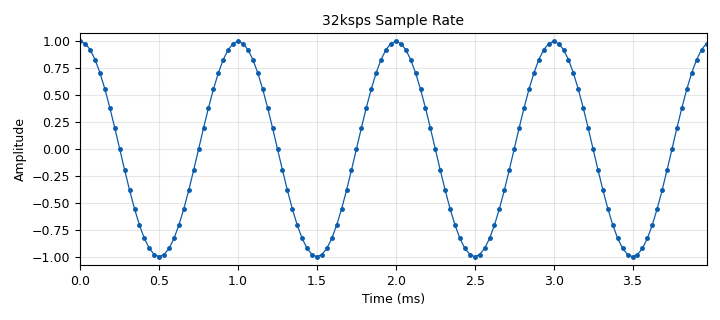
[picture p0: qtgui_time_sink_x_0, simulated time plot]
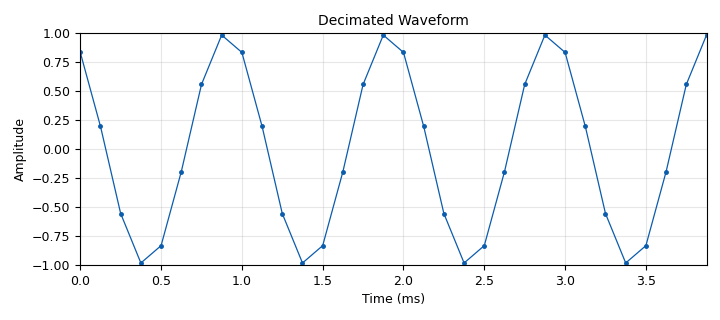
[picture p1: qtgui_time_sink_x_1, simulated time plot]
options:
  parameters:
    generate_options: qt_gui
    id: top_block
    output_language: python
  states: {}

blocks:
- name: decimation_factor
  id: variable
  parameters:
    value: '4'
  states: {}
- name: samp_rate
  id: variable
  parameters:
    value: '32000'
  states: {}
- name: analog_sig_source_x_0
  id: analog_sig_source_x
  parameters:
    amp: '1'
    freq: '1000'
    offset: '0'
    phase: '0'
    samp_rate: samp_rate
    type: float
    waveform: analog.GR_COS_WAVE
  states: {}
- name: blocks_keep_one_in_n_0
  id: blocks_keep_one_in_n
  parameters:
    n: decimation_factor
    type: float
  states: {}
- name: blocks_throttle2_0
  id: blocks_throttle2
  parameters:
    samples_per_second: samp_rate
    type: float
  states: {}
- name: qtgui_time_sink_x_0
  id: qtgui_time_sink_x
  parameters:
    label1: ''
    marker1: '0'
    name: '"32ksps Sample Rate"'
    size: '128'
    srate: samp_rate
    type: float
  states: {}
- name: qtgui_time_sink_x_1
  id: qtgui_time_sink_x
  parameters:
    label1: ''
    marker1: '0'
    name: '"Decimated Waveform"'
    size: int(128/decimation_factor)
    srate: samp_rate/decimation_factor
    type: float
  states: {}

connections:
- [analog_sig_source_x_0, '0', blocks_throttle2_0, '0']
- [analog_sig_source_x_0, '0', qtgui_time_sink_x_0, '0']
- [blocks_keep_one_in_n_0, '0', qtgui_time_sink_x_1, '0']
- [blocks_throttle2_0, '0', blocks_keep_one_in_n_0, '0']

metadata:
  file_format: 1
  grc_version: 3.10.9.2
